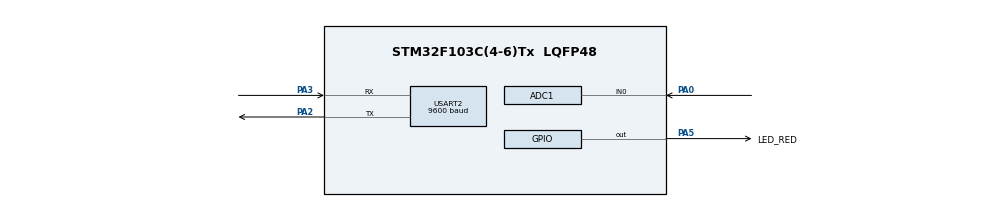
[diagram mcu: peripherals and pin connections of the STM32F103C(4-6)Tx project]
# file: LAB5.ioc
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ADC1.Channel-0\#ChannelRegularConversion=ADC_CHANNEL_0
ADC1.ContinuousConvMode=ENABLE
ADC1.NbrOfConversionFlag=1
ADC1.Rank-0\#ChannelRegularConversion=1
ADC1.SamplingTime-0\#ChannelRegularConversion=ADC_SAMPLETIME_1CYCLE_5
ADC1.master=1
Mcu.Family=STM32F1
Mcu.Name=STM32F103C(4-6)Tx
Mcu.Package=LQFP48
NVIC.PriorityGroup=NVIC_PRIORITYGROUP_4
NVIC.USART2_IRQn=true\:0\:0\:false\:false\:true\:true\:true
PA0-WKUP.Signal=ADCx_IN0
PA2.Mode=Asynchronous
PA2.Signal=USART2_TX
PA3.Mode=Asynchronous
PA3.Signal=USART2_RX
PA5.GPIO_Label=LED_RED
PA5.Signal=GPIO_Output
ProjectManager.HeapSize=0x200
ProjectManager.StackSize=0x400
ProjectManager.TargetToolchain=STM32CubeIDE
RCC.APB1Freq_Value=8000000
RCC.APB2Freq_Value=8000000
SH.ADCx_IN0.0=ADC1_IN0,IN0
USART2.BaudRate=9600
USART2.VirtualMode=VM_ASYNC
VP_SYS_VS_ND.Mode=No_Debug
board=custom

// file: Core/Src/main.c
/* USER CODE BEGIN Header */
/**
  ******************************************************************************
  * @file           : main.c
  * @brief          : Main program body
  ******************************************************************************
  * @attention
  *
  * <h2><center>&copy; Copyright (c) 2024 STMicroelectronics.
  * All rights reserved.</center></h2>
  *
  * This software component is licensed by ST under BSD 3-Clause license,
  * the "License"; You may not use this file except in compliance with the
  * License. You may obtain a copy of the License at:
  *                        opensource.org/licenses/BSD-3-Clause
  *
  ******************************************************************************
  */
/* USER CODE END Header */
#include "main.h"

/* USER CODE BEGIN Includes */
#include <stdio.h>
#include "string.h"

/* USER CODE END Includes */

/* USER CODE BEGIN PD */
#define MAX_BUFFER_SIZE 40
#define RST 1
#define OK	10

/* USER CODE END PD */

ADC_HandleTypeDef hadc1;

UART_HandleTypeDef huart2;

/* USER CODE BEGIN PV */
uint8_t index_buffer = 0;
uint8_t buffer[MAX_BUFFER_SIZE];
uint8_t flag = 0;
uint8_t data = 0;
uint32_t anchor = 0;
uint8_t status = RST;
uint8_t command_flag = 0;
float command_data = 0;
char str[30];
/* USER CODE END PV */

void SystemClock_Config(void);
static void MX_GPIO_Init(void);
static void MX_ADC1_Init(void);
static void MX_USART2_UART_Init(void);

void command_parser_fsm(void);
void uart_communication_fsm(void);

int main(void)
{

  /* MCU Configuration--------------------------------------------------------*/

  /* Reset of all peripherals, Initializes the Flash interface and the Systick. */
  HAL_Init();

  /* Configure the system clock */
  SystemClock_Config();

  /* Initialize all configured peripherals */
  MX_GPIO_Init();
  MX_ADC1_Init();
  MX_USART2_UART_Init();
  /* USER CODE BEGIN 2 */
  HAL_UART_Receive_IT(&huart2, &buffer[index_buffer],1);
  HAL_ADC_Start(&hadc1);
  anchor = 0;
  status = RST;
  /* USER CODE END 2 */

  /* Infinite loop */
  /* USER CODE BEGIN WHILE */

  while (1)
  {
	  if(flag == 1){
		  HAL_GPIO_TogglePin(GPIOA, GPIO_PIN_5);
		  command_parser_fsm();
		  flag = 0;
	  }
	  uart_communication_fsm();
	  HAL_Delay(100);

    /* USER CODE END WHILE */

  }
}

void SystemClock_Config(void)
{
  RCC_OscInitTypeDef RCC_OscInitStruct = {0};
  RCC_ClkInitTypeDef RCC_ClkInitStruct = {0};
  RCC_PeriphCLKInitTypeDef PeriphClkInit = {0};

  /** Initializes the RCC Oscillators according to the specified parameters
  * in the RCC_OscInitTypeDef structure.
  */
  RCC_OscInitStruct.OscillatorType = RCC_OSCILLATORTYPE_HSI;
  RCC_OscInitStruct.HSIState = RCC_HSI_ON;
  RCC_OscInitStruct.HSICalibrationValue = RCC_HSICALIBRATION_DEFAULT;
  RCC_OscInitStruct.PLL.PLLState = RCC_PLL_NONE;
  if (HAL_RCC_OscConfig(&RCC_OscInitStruct) != HAL_OK)
  {
    Error_Handler();
  }
  /** Initializes the CPU, AHB and APB buses clocks
  */
  RCC_ClkInitStruct.ClockType = RCC_CLOCKTYPE_HCLK|RCC_CLOCKTYPE_SYSCLK
                              |RCC_CLOCKTYPE_PCLK1|RCC_CLOCKTYPE_PCLK2;
  RCC_ClkInitStruct.SYSCLKSource = RCC_SYSCLKSOURCE_HSI;
  RCC_ClkInitStruct.AHBCLKDivider = RCC_SYSCLK_DIV1;
  RCC_ClkInitStruct.APB1CLKDivider = RCC_HCLK_DIV1;
  RCC_ClkInitStruct.APB2CLKDivider = RCC_HCLK_DIV1;

  if (HAL_RCC_ClockConfig(&RCC_ClkInitStruct, FLASH_LATENCY_0) != HAL_OK)
  {
    Error_Handler();
  }
  PeriphClkInit.PeriphClockSelection = RCC_PERIPHCLK_ADC;
  PeriphClkInit.AdcClockSelection = RCC_ADCPCLK2_DIV2;
  if (HAL_RCCEx_PeriphCLKConfig(&PeriphClkInit) != HAL_OK)
  {
    Error_Handler();
  }
}

static void MX_ADC1_Init(void)
{

  ADC_ChannelConfTypeDef sConfig = {0};

  /** Common config
  */
  hadc1.Instance = ADC1;
  hadc1.Init.ScanConvMode = ADC_SCAN_DISABLE;
  hadc1.Init.ContinuousConvMode = ENABLE;
  hadc1.Init.DiscontinuousConvMode = DISABLE;
  hadc1.Init.ExternalTrigConv = ADC_SOFTWARE_START;
  hadc1.Init.DataAlign = ADC_DATAALIGN_RIGHT;
  hadc1.Init.NbrOfConversion = 1;
  if (HAL_ADC_Init(&hadc1) != HAL_OK)
  {
    Error_Handler();
  }
  /** Configure Regular Channel
  */
  sConfig.Channel = ADC_CHANNEL_0;
  sConfig.Rank = ADC_REGULAR_RANK_1;
  sConfig.SamplingTime = ADC_SAMPLETIME_1CYCLE_5;
  if (HAL_ADC_ConfigChannel(&hadc1, &sConfig) != HAL_OK)
  {
    Error_Handler();
  }

}

static void MX_USART2_UART_Init(void)
{

  huart2.Instance = USART2;
  huart2.Init.BaudRate = 9600;
  huart2.Init.WordLength = UART_WORDLENGTH_8B;
  huart2.Init.StopBits = UART_STOPBITS_1;
  huart2.Init.Parity = UART_PARITY_NONE;
  huart2.Init.Mode = UART_MODE_TX_RX;
  huart2.Init.HwFlowCtl = UART_HWCONTROL_NONE;
  huart2.Init.OverSampling = UART_OVERSAMPLING_16;
  if (HAL_UART_Init(&huart2) != HAL_OK)
  {
    Error_Handler();
  }

}

static void MX_GPIO_Init(void)
{
  GPIO_InitTypeDef GPIO_InitStruct = {0};

  /* GPIO Ports Clock Enable */
  __HAL_RCC_GPIOA_CLK_ENABLE();

  /*Configure GPIO pin Output Level */
  HAL_GPIO_WritePin(GPIOA, GPIO_PIN_5, GPIO_PIN_RESET);

  /*Configure GPIO pin : PA5 */
  GPIO_InitStruct.Pin = GPIO_PIN_5;
  GPIO_InitStruct.Mode = GPIO_MODE_OUTPUT_PP;
  GPIO_InitStruct.Pull = GPIO_NOPULL;
  GPIO_InitStruct.Speed = GPIO_SPEED_FREQ_LOW;
  HAL_GPIO_Init(GPIOA, &GPIO_InitStruct);

}

/* USER CODE BEGIN 4 */
void uart_communication_fsm(){
	if(!command_flag) return;
		if(HAL_GetTick() - anchor >= 1500){
			anchor = HAL_GetTick();
			sprintf(str, "\r\nADC value: %0.2f",command_data);
			HAL_UART_Transmit(&huart2, (void *)str, strlen(str), 20);
		}
}

void HAL_UART_RxCpltCallback(UART_HandleTypeDef *huart){
	if(huart->Instance == USART2){
		buffer[index_buffer++]=data;
		if(data == '#'){
			flag = 1;
		}
		if(index_buffer > 29) index_buffer = 0;
	HAL_UART_Transmit_IT(&huart2, &data, 1);
	HAL_UART_Receive_IT(&huart2, &data, 1);

	}
}

void command_parser_fsm(){
	buffer[index_buffer]='\0';
	switch(status){
		case RST:
			if(index_buffer <= 4) return;

			if(!strcmp((char*) & buffer[index_buffer-5],"!RST#")){
				command_data = (float)(HAL_ADC_GetValue(& hadc1) * 5) / 4096;
				command_flag = 1;
				status = OK;
			}
			 break;
		case OK:
			if(index_buffer <= 3) return;
			if(!strcmp((char*) & buffer[index_buffer-4],"!OK#")){
				command_flag = 0;
				status = RST;
			}
			break;
		default :
			break;
		}
}

/* USER CODE END 4 */

void Error_Handler(void)
{
  __disable_irq();
  while (1)
  {
  }
}

/************************ (C) COPYRIGHT STMicroelectronics *****END OF FILE****/
